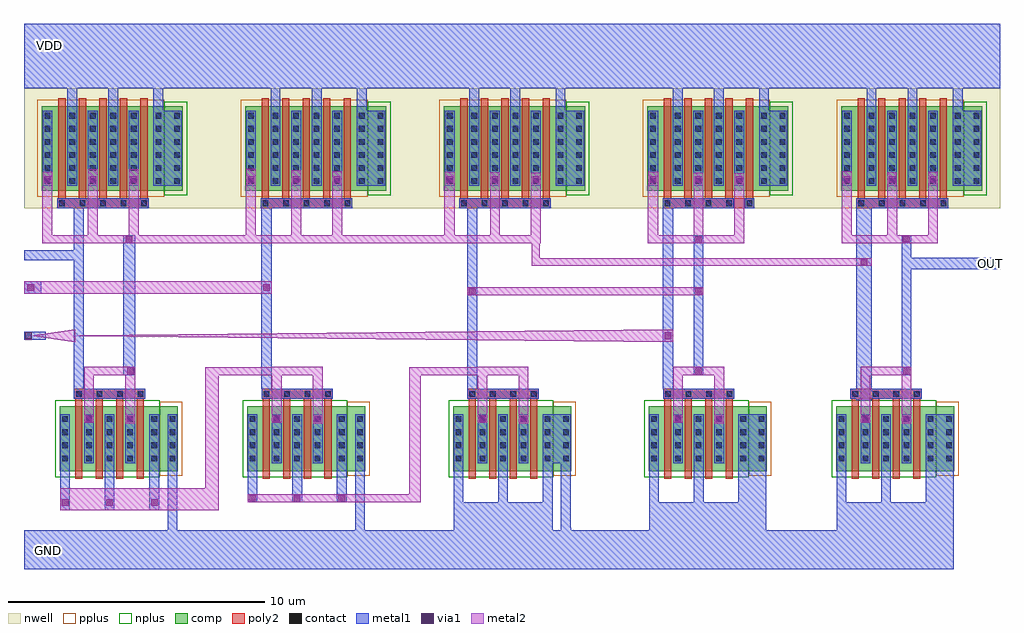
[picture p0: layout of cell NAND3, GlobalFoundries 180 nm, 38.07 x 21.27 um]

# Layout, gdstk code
import gdstk
lib = gdstk.Library(unit=1e-6, precision=5e-09)
def R(c, l, rs):  # rectangles x0, y0, x1, y1
    for r in rs: c.add(gdstk.rectangle(r[:2], r[2:], *l))
def A(c, l, x, y, w, h, nx, ny, dx, dy):  # array of equal rectangles
    R(c, l, [(x+i*dx, y+j*dy, x+i*dx+w, y+j*dy+h) for i in range(nx) for j in range(ny)])
nwell = (21, 0)
comp = (22, 0)
poly2 = (30, 0)
pplus = (31, 0)
nplus = (32, 0)
contact = (33, 0)
metal1 = (34, 0)
via1 = (35, 0)
metal2 = (36, 0)

nfet = lib.new_cell('nfet')
R(nfet, comp, [(-0.42,0,0,2.54), (0,0,3.06,2.54), (3.06,0,3.48,2.54), (3.48,0,4.19,2.54)])
A(nfet, poly2, 0.19, -0.3, 0.28, 3.14, 4, 1, 0.8, 0)
A(nfet, poly2, 0.15, 2.84, 0.36, 0.36, 4, 1, 0.8, 0)
R(nfet, pplus, [(3.48,-0.17,4.36,2.71)])
R(nfet, nplus, [(-0.59,-0.24,3.48,2.78)])
A(nfet, contact, -0.32, 0.395, 0.22, 0.22, 1, 4, 0, 0.51)
A(nfet, contact, 0.62, 0.395, 0.22, 0.22, 3, 4, 0.8, 0.51)
A(nfet, contact, 3.16, 0.395, 0.22, 0.22, 1, 4, 0, 0.51)
A(nfet, contact, 3.87, 0.395, 0.22, 0.22, 1, 4, 0, 0.51)
A(nfet, contact, 0.22, 2.91, 0.22, 0.22, 4, 1, 0.8, 0)
A(nfet, metal1, 0.54, 0.315, 0.38, 1.91, 3, 1, 0.8, 0)
A(nfet, metal1, 0.14, 2.83, 0.38, 0.38, 4, 1, 0.8, 0)
R(nfet, metal1, [(-0.4,0.315,-0.02,2.225), (3.08,0.315,3.46,2.225), (3.79,0.315,4.17,2.225)])

pfet = lib.new_cell('pfet')
R(pfet, nwell, [(-1.15,-0.69,5.74,3.99)])
R(pfet, comp, [(-0.46,0,0,3.3), (0,0,3.86,3.3), (3.86,0,4.32,3.3), (4.32,0,5.05,3.3)])
A(pfet, poly2, 0.14, -0.68, 0.38, 0.38, 5, 1, 0.8, 0)
A(pfet, poly2, 0.19, -0.3, 0.28, 3.9, 5, 1, 0.8, 0)
R(pfet, pplus, [(-0.63,-0.24,4.32,3.54)])
R(pfet, nplus, [(4.32,-0.17,5.22,3.47)])
A(pfet, contact, 0.22, -0.6, 0.22, 0.22, 5, 1, 0.8, 0)
A(pfet, contact, -0.34, 0.265, 0.22, 0.22, 1, 6, 0, 0.51)
A(pfet, contact, 0.62, 0.265, 0.22, 0.22, 4, 6, 0.8, 0.51)
A(pfet, contact, 3.98, 0.265, 0.22, 0.22, 1, 6, 0, 0.51)
A(pfet, contact, 4.71, 0.265, 0.22, 0.22, 1, 6, 0, 0.51)
A(pfet, metal1, 0.14, -0.68, 0.38, 0.38, 5, 1, 0.8, 0)
A(pfet, metal1, 0.54, 0.185, 0.38, 2.93, 4, 1, 0.8, 0)
R(pfet, metal1, [(-0.42,0.185,-0.04,3.115), (3.9,0.185,4.28,3.115), (4.63,0.185,5.01,3.115)])

nand3 = lib.new_cell('NAND3')
R(nand3, nwell, [(-13.05,4.9,-11.98,9.58), (-5.295,4.9,-4.125,9.58), (2.325,4.9,3.98,9.58), (10.225,4.9,11.56,9.58)])
R(nand3, poly2, [(-17.99,-2.525,-15.21,-2.145), (-10.675,-2.525,-7.895,-2.145), (-2.645,-2.525,0.135,-2.145), (4.985,-2.525,7.765,-2.145), (12.295,-2.525,15.075,-2.145), (-18.65,4.91,-15.07,5.29), (-10.715,4.91,-7.135,5.29), (-2.965,4.91,0.615,5.29), (4.97,4.91,8.55,5.29), (12.53,4.91,16.11,5.29)])
A(nand3, metal1, -11.215, -6.57, 0.38, 1.53, 3, 1, 1.74, 0)
A(nand3, metal1, -3.185, -6.57, 0.38, 1.53, 3, 1, 1.74, 0)
A(nand3, metal1, 4.445, -6.57, 0.38, 1.53, 3, 1, 1.74, 0)
A(nand3, metal1, 11.755, -6.57, 0.38, 1.53, 3, 1, 1.74, 0)
R(nand3, metal1, [(-19.94,-9.17,15.615,-7.66), (15.615,-9.17,16.325,-5.04), (-7.025,-8.64,-6.645,-4.4), (8.115,-8.135,9.015,-5.04), (-3.185,-7.835,0.675,-6.57), (-14.34,-7.72,-13.96,-3.69), (1.005,-7.66,1.4,-7.57), (4.445,-7.66,8.335,-7.57), (11.755,-7.66,15.615,-6.57), (1.005,-7.57,1.395,-5.04), (4.445,-7.57,8.335,-6.57), (-18.53,-6.87,-18.15,-5.04), (-16.79,-6.87,-16.41,-4.93), (-15.05,-6.87,-14.67,-4.9), (0.295,-5.04,1.385,-3.13), (7.925,-5.04,9.015,-3.13), (15.235,-5.04,16.325,-3.13), (12.53,-2.575,13.125,5.29), (-17.99,-2.525,-15.21,-2.145), (-10.675,-2.525,-7.895,-2.145), (-2.645,-2.525,0.135,-2.145), (4.985,-2.525,7.765,-2.145), (12.295,-2.525,15.075,-2.145), (-16.065,-1.615,-15.615,-1.285), (6.175,-1.615,6.56,3.85), (14.295,-1.6,14.675,3.85), (-16.065,-1.285,-15.61,3.85), (-19.94,-0.22,-19.925,0.08), (-19.925,-0.22,-19.085,0.08), (-19.94,1.57,-19.265,2.05), (14.295,2.52,18.13,2.97), (-18.65,4.91,-15.07,5.29), (-10.715,4.91,-7.135,5.29), (-2.965,4.91,0.615,5.29), (4.97,4.91,7.75,5.29), (12.53,4.91,16.11,5.29), (-14.89,5.775,-13.78,8.705), (-6.955,5.775,-5.845,8.705), (0.795,5.775,1.905,8.705), (8.73,5.775,9.84,8.705), (16.29,5.775,17.4,8.705), (-18.25,8.705,-17.87,10.395), (-16.65,8.705,-16.27,10.395), (-14.89,8.705,-14.51,10.395), (-10.315,8.705,-9.935,10.395), (-8.715,8.705,-8.335,10.395), (-6.955,8.705,-6.575,10.395), (-2.565,8.705,-2.185,10.395), (-0.965,8.705,-0.585,10.395), (0.795,8.705,1.175,10.395), (5.37,8.705,5.75,10.395), (6.97,8.705,7.35,10.395), (8.73,8.705,9.11,10.395), (12.93,8.705,13.31,10.395), (14.53,8.705,14.91,10.395), (16.29,8.705,16.67,10.395), (-19.94,9.58,18.13,12.095)])
R(nand3, via1, [(-18.46,-6.705,-18.2,-6.445), (-16.735,-6.705,-16.475,-6.445), (-14.98,-6.705,-14.72,-6.445), (-11.155,-6.545,-10.895,-6.285), (-11.155,-6.545,-10.895,-6.285), (-9.415,-6.545,-9.155,-6.285), (-9.415,-6.545,-9.155,-6.285), (-7.675,-6.545,-7.415,-6.285), (-7.675,-6.545,-7.415,-6.285), (-15.93,-3.445,-15.67,-3.185), (-8.615,-3.445,-8.355,-3.185), (-0.585,-3.445,-0.325,-3.185), (7.045,-3.445,7.305,-3.185), (14.355,-3.445,14.615,-3.185), (-17.53,-3.425,-17.27,-3.165), (-10.215,-3.425,-9.955,-3.165), (-2.185,-3.425,-1.925,-3.165), (5.445,-3.425,5.705,-3.165), (12.755,-3.425,13.015,-3.165), (6.24,-1.585,6.5,-1.325), (14.355,-1.585,14.615,-1.325), (-15.92,-1.58,-15.66,-1.32), (-19.89,-0.2,-19.63,0.06), (5.045,-0.2,5.305,0.06), (-2.585,1.535,-2.325,1.795), (6.235,1.535,6.495,1.795), (-19.805,1.68,-19.545,1.94), (-10.615,1.68,-10.355,1.94), (12.69,2.68,12.95,2.94), (-15.975,3.56,-15.715,3.82), (6.235,3.56,6.495,3.82), (14.345,3.57,14.605,3.83), (-19.15,5.895,-18.89,6.155), (-17.385,5.895,-17.125,6.155), (-15.79,5.895,-15.53,6.155), (-11.215,5.895,-10.955,6.155), (-9.45,5.895,-9.19,6.155), (-7.855,5.895,-7.595,6.155), (-3.465,5.895,-3.205,6.155), (-1.7,5.895,-1.44,6.155), (-0.105,5.895,0.155,6.155), (4.47,5.895,4.73,6.155), (6.235,5.895,6.495,6.155), (7.83,5.895,8.09,6.155), (12.03,5.895,12.29,6.155), (13.795,5.895,14.055,6.155), (15.39,5.895,15.65,6.155)])
R(nand3, metal2, [(-18.53,-6.87,-12.34,-6.02), (-11.215,-6.57,-7.355,-6.255), (-12.87,-6.565,-12.34,-1.3), (-4.905,-6.56,-4.455,-1.3), (-15.99,-3.495,-15.61,-1.285), (-8.675,-3.495,-8.295,-1.285), (-0.645,-3.495,-0.265,-1.285), (6.985,-3.495,7.365,-1.285), (14.295,-3.495,14.675,-1.285), (-17.59,-3.46,-17.21,-1.285), (-10.275,-3.46,-9.895,-1.285), (-2.245,-3.46,-1.865,-1.285), (5.385,-3.46,5.765,-1.285), (12.695,-3.46,13.075,-1.285), (-17.59,-1.615,-15.61,-1.285), (-16.065,-1.615,-15.61,-1.285), (-10.275,-1.615,-8.295,-1.285), (-2.245,-1.615,-0.265,-1.285), (5.385,-1.615,7.365,-1.285), (12.695,-1.615,14.675,-1.285), (6.175,1.515,6.56,1.815), (-19.94,1.57,-10.285,2.05), (-19.225,3.535,-18.83,5.775), (-19.225,3.535,-15.485,3.85), (-17.445,3.535,-17.065,5.775), (-15.85,3.535,-15.47,5.775), (-15.485,3.535,0.2,3.85), (-11.29,3.535,-10.895,5.775), (-11.29,3.535,-7.55,3.85), (-9.51,3.535,-9.13,5.775), (-7.915,3.535,-7.535,5.775), (-3.54,3.535,-3.145,5.775), (-3.54,3.535,0.2,3.85), (-1.76,3.535,-1.38,5.775), (-0.165,3.535,0.215,5.775), (4.395,3.535,4.79,5.775), (4.395,3.535,8.135,3.85), (6.175,3.535,6.555,5.775), (7.77,3.535,8.15,5.775), (11.955,3.535,12.35,5.775), (11.955,3.535,15.695,3.85), (13.735,3.535,14.115,5.775), (15.33,3.535,15.71,5.775), (-19.21,5.495,-18.83,6.335), (-17.45,5.5,-17.065,6.435), (-7.915,5.59,-7.535,6.35), (-15.85,5.615,-15.47,6.43), (-9.515,5.625,-9.13,6.385), (-11.275,5.635,-10.895,6.445), (-3.525,5.64,-3.145,6.33), (4.41,5.68,4.79,6.325), (6.17,5.69,6.555,6.295), (-1.765,5.695,-1.38,6.315), (-0.165,5.71,0.215,6.28), (13.735,5.75,14.11,6.315), (7.77,5.76,8.15,6.275), (11.955,5.775,12.35,6.355), (15.33,5.775,15.71,6.325)])
nand3.add(gdstk.FlexPath([(-17.8,3.07),(-19.94,3.07)], 0.4, ends="flush", simple_path=True, layer=34, datatype=0))  # metal1
nand3.add(gdstk.FlexPath([(-17.8,-2.155),(-17.8,5.21)], 0.4, ends="flush", simple_path=True, layer=34, datatype=0))  # metal1
nand3.add(gdstk.FlexPath([(-10.485,-2.145),(-10.485,5.1)], 0.4, ends="flush", simple_path=True, layer=34, datatype=0))  # metal1
nand3.add(gdstk.FlexPath([(-2.455,-2.225),(-2.455,4.91),(-2.455,5.185)], 0.4, ends="flush", simple_path=True, layer=34, datatype=0))  # metal1
nand3.add(gdstk.FlexPath([(5.175,-2.145),(5.175,5.29)], 0.4, ends="flush", simple_path=True, layer=34, datatype=0))  # metal1
nand3.add(gdstk.FlexPath([(5.375,-0.07),(-19.69,-0.07),(-17.945,-0.07)], 0.5, ends="flush", simple_path=True, layer=36, datatype=0))  # metal2
nand3.add(gdstk.FlexPath([(-10.275,-1.45),(-12.87,-1.45)], 0.3, ends="flush", simple_path=True, layer=36, datatype=0))  # metal2
nand3.add(gdstk.FlexPath([(-7.355,-6.41),(-4.455,-6.41)], 0.3, ends="flush", simple_path=True, layer=36, datatype=0))  # metal2
nand3.add(gdstk.FlexPath([(-2.245,-1.45),(-4.905,-1.45)], 0.3, ends="flush", simple_path=True, layer=36, datatype=0))  # metal2
nand3.add(gdstk.FlexPath([(0.025,3.535),(0.025,2.81),(13.125,2.81)], 0.3, ends="flush", simple_path=True, layer=36, datatype=0))  # metal2
nand3.add(gdstk.FlexPath([(6.175,1.665),(-2.655,1.665),(-2.655,1.665)], 0.3, ends="flush", simple_path=True, layer=36, datatype=0))  # metal2
nand3.add(gdstk.Reference(nfet, (12.155,-5.355)))
nand3.add(gdstk.Reference(pfet, (-3.105,5.59)))
nand3.add(gdstk.Reference(pfet, (12.39,5.59)))
nand3.add(gdstk.Reference(pfet, (-18.79,5.59)))
nand3.add(gdstk.Reference(pfet, (-10.855,5.59)))
nand3.add(gdstk.Reference(pfet, (4.83,5.59)))
nand3.add(gdstk.Reference(nfet, (-18.13,-5.355)))
nand3.add(gdstk.Reference(nfet, (-2.785,-5.355)))
nand3.add(gdstk.Reference(nfet, (4.845,-5.355)))
nand3.add(gdstk.Reference(nfet, (-10.815,-5.355)))
nand3.add(gdstk.Label('GND', (-18.975,-8.44), layer=34, texttype=10))
nand3.add(gdstk.Label('OUT', (17.74,2.735), layer=34, texttype=10))
nand3.add(gdstk.Label('VDD', (-18.93,11.26), layer=34, texttype=10))

lib.write_gds('NAND3.gds')
